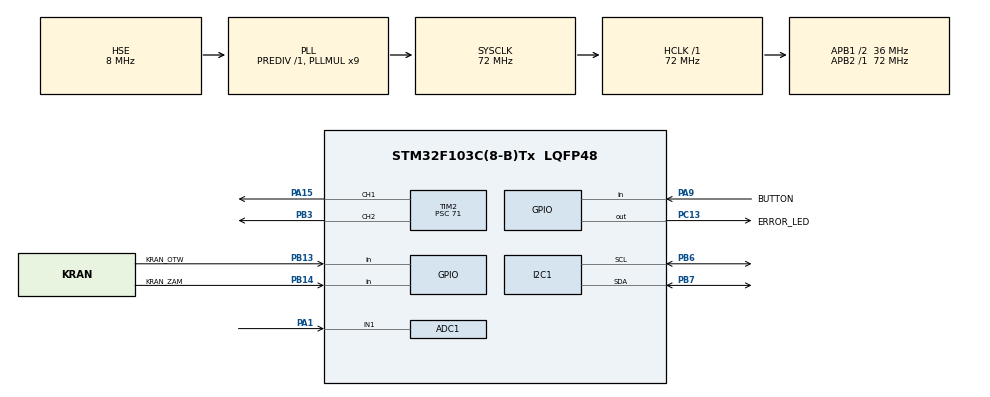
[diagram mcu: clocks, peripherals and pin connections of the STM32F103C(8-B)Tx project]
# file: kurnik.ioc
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ADC1.Channel-0\#ChannelRegularConversion=ADC_CHANNEL_1
ADC1.NbrOfConversionFlag=1
ADC1.Rank-0\#ChannelRegularConversion=1
ADC1.SamplingTime-0\#ChannelRegularConversion=ADC_SAMPLETIME_239CYCLES_5
ADC1.master=1
IWDG.Prescaler=IWDG_PRESCALER_64
Mcu.Family=STM32F1
Mcu.Name=STM32F103C(8-B)Tx
Mcu.Package=LQFP48
NVIC.PriorityGroup=NVIC_PRIORITYGROUP_4
PA1.Signal=ADCx_IN1
PA13.Mode=Serial_Wire
PA13.Signal=SYS_JTMS-SWDIO
PA14.Mode=Serial_Wire
PA14.Signal=SYS_JTCK-SWCLK
PA15.Signal=S_TIM2_CH1_ETR
PA9.GPIO_Label=BUTTON
PA9.Signal=GPIO_Input
PB13.GPIO_Label=KRAN_OTW
PB13.Signal=GPIO_Input
PB14.GPIO_Label=KRAN_ZAM
PB14.Signal=GPIO_Input
PB3.Signal=S_TIM2_CH2
PB6.Mode=I2C
PB6.Signal=I2C1_SCL
PB7.Mode=I2C
PB7.Signal=I2C1_SDA
PC13-TAMPER-RTC.GPIO_Label=ERROR_LED
PC13-TAMPER-RTC.PinState=GPIO_PIN_SET
PC13-TAMPER-RTC.Signal=GPIO_Output
PD0-OSC_IN.Mode=HSE-External-Oscillator
PD0-OSC_IN.Signal=RCC_OSC_IN
PD1-OSC_OUT.Mode=HSE-External-Oscillator
PD1-OSC_OUT.Signal=RCC_OSC_OUT
ProjectManager.HeapSize=0x200
ProjectManager.StackSize=0x400
ProjectManager.TargetToolchain=STM32CubeIDE
RCC.ADCPresc=RCC_ADCPCLK2_DIV6
RCC.AHBFreq_Value=72000000
RCC.APB1CLKDivider=RCC_HCLK_DIV2
RCC.APB1Freq_Value=36000000
RCC.APB1TimFreq_Value=72000000
RCC.APB2Freq_Value=72000000
RCC.APB2TimFreq_Value=72000000
RCC.HCLKFreq_Value=72000000
RCC.PLLMUL=RCC_PLL_MUL9
RCC.PLLSourceVirtual=RCC_PLLSOURCE_HSE
RCC.SYSCLKFreq_VALUE=72000000
RCC.SYSCLKSource=RCC_SYSCLKSOURCE_PLLCLK
RCC.USBFreq_Value=72000000
SH.ADCx_IN1.0=ADC1_IN1,IN1
SH.S_TIM2_CH1_ETR.0=TIM2_CH1,PWM Generation1 CH1
SH.S_TIM2_CH2.0=TIM2_CH2,PWM Generation2 CH2
TIM2.Channel-PWM\ Generation1\ CH1=TIM_CHANNEL_1
TIM2.Channel-PWM\ Generation2\ CH2=TIM_CHANNEL_2
TIM2.Period=999
TIM2.Prescaler=71
VP_IWDG_VS_IWDG.Mode=IWDG_Activate
board=custom

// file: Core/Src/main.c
/* USER CODE BEGIN Header */
/**
  ******************************************************************************
  * @file           : main.c
  * @brief          : Main program body
  ******************************************************************************
  * @attention
  *
  * Copyright (c) 2023 STMicroelectronics.
  * All rights reserved.
  *
  * This software is licensed under terms that can be found in the LICENSE file
  * in the root directory of this software component.
  * If no LICENSE file comes with this software, it is provided AS-IS.
  *
  ******************************************************************************
  */
/* USER CODE END Header */
#include "main.h"
#include "adc.h"
#include "i2c.h"
#include "iwdg.h"
#include "tim.h"
#include "gpio.h"

/* USER CODE BEGIN Includes */
#include "stdbool.h"
#include "func.h"
#include "INA219.h"
/* USER CODE END Includes */

/* USER CODE BEGIN PV */
INA219_t ina219;

/* USER CODE END PV */

void SystemClock_Config(void);

int main(void)
{

  /* MCU Configuration--------------------------------------------------------*/

  /* Reset of all peripherals, Initializes the Flash interface and the Systick. */
  HAL_Init();

  /* Configure the system clock */
  SystemClock_Config();

  /* Initialize all configured peripherals */
  MX_GPIO_Init();
  MX_I2C1_Init();
  MX_ADC1_Init();
  MX_TIM2_Init();
  MX_IWDG_Init();
  /* USER CODE BEGIN 2 */
  // Uruchomienie układu

  for (int i = 0; i < 10; i++) {
    HAL_GPIO_TogglePin(ERROR_LED_GPIO_Port, ERROR_LED_Pin);
    HAL_Delay(50);
  }

  while(!INA219_Init(&ina219, &hi2c1, INA219_ADDRESS))
  {

  }

  /* USER CODE END 2 */

  /* Infinite loop */
  /* USER CODE BEGIN WHILE */

  // ZMIENNE STANU
  time_of_day pora_dnia = undefined;
  stan_dzialania stan;
  mode tryb = automatic;
  stan_dzialania lst_stan;
  bool button_flag = 0;

  //DELAY
  unsigned long lst_time_pomiar = HAL_GetTick();
  unsigned long lst_time_manual = HAL_GetTick();
  unsigned long lst_time_motor = HAL_GetTick();
  unsigned long lst_time_pomiar_INA = HAL_GetTick();
  unsigned long lst_time_input = HAL_GetTick();

  //DEBOUNCING INPUTS
  int counter_otw = 0;
  int counter_zam = 0;
  int counter_button = 0;

  //ZABEZPIECZNIA
  int work_time = 0;
  int max_current_counter = 0;
  int incorrect_voltage_counter = 0;

  //USTALENIE STANU POCZĄTKOWEGO
  if(get_state(kran_zam)) stan = zamkniete;
  else if(get_state(kran_otw)) stan = otwarte;
  else stan = pomiedzy;
  lst_stan = stan;

  //ADC
  HAL_ADCEx_Calibration_Start(&hadc1);

  //PWM
  HAL_TIM_Base_Start_IT(&htim2);
  HAL_TIM_PWM_Start(&htim2, TIM_CHANNEL_1);
  HAL_TIM_PWM_Start(&htim2, TIM_CHANNEL_2);

  //INA 219
  uint16_t vbus, current;

  vbus = INA219_ReadBusVoltage(&ina219);
  current = INA219_ReadCurrent(&ina219);

  while (1)
  {
	  // SPRAWDZANIE WEJŚĆ
	  if(HAL_GetTick() - lst_time_input > 2)
	  {

		  HAL_IWDG_Refresh(&hiwdg);

		  lst_time_input = HAL_GetTick();

		  if(get_state(kran_zam) && (stan == zamykanie || stan == pomiedzy)) counter_zam ++;
		  else counter_zam = 0;

		  if(get_state(kran_otw) && (stan == otwieranie || stan == pomiedzy)) counter_otw ++;
		  else counter_otw = 0;

		  if(get_state(button) && !button_flag) counter_button++;
		  if(!get_state(button) && counter_button < 49) counter_button = 0;
	  }

	  //USTAWIENIE STANÓW WEJŚĆ
	  if(counter_zam > 30)
	  {
		  work_time = 0;
		  counter_zam = 0;
		  motor(zamkniete);
		  stan = zamkniete;
	  }
	  if(counter_otw > 30)
	  {
		  work_time = 0;
		  counter_otw = 0;
		  motor(otwarte);
		  stan = otwarte;
	  }

	  //!get_state  ponieważ wciśnięcie przycisku uznane dopiero po jego puszczeniu
	  if(counter_button > 50 && !get_state(button))
	  {
		  counter_button = 0;
		  button_flag = 1;
		  work_time = 0;

	  }

// TRYB AUTOMATYCZNY

	  if(tryb == automatic)
	  {
		  //POMIAR Z FOTO-REZYSTORA
		  if(stan != otwieranie && stan != zamykanie && ((HAL_GetTick() - lst_time_pomiar) > 100))
		  {
			  lst_time_pomiar = HAL_GetTick();
			  pomiar_foto(&pora_dnia);

		  }

		  // ROZPOCZYNANIE ZAMYKANIA LUB OTWIERANIA
		  if((stan == otwarte || stan == pomiedzy) && pora_dnia == noc)
		  {
			  motor(zamykanie);
			  stan = zamykanie;
		  }
		  if((stan == zamkniete || stan == pomiedzy) && pora_dnia == dzien)
		  {
			  motor(otwieranie);
			  stan = otwieranie;
		  }
	  }

// TRYB MANUALNY

	  if(tryb == manual && (HAL_GetTick() - lst_time_manual >  150000))   // 2.5 min : czas działania trybu manualnego
	  {
		  tryb = automatic;
		  HAL_GPIO_WritePin(ERROR_LED_GPIO_Port, ERROR_LED_Pin, GPIO_PIN_SET);
	  }

	  if(button_flag)  //debouncing
	  {
		  lst_time_manual = HAL_GetTick();
		  tryb = manual;
		  HAL_GPIO_WritePin(ERROR_LED_GPIO_Port, ERROR_LED_Pin, GPIO_PIN_RESET);

		  if(stan == otwieranie)
		  {
			  motor(pomiedzy);
			  stan = pomiedzy;
			  lst_stan = otwieranie;
		  }

		  else if(stan == zamykanie)
		  {
			  motor(pomiedzy);
			  stan = pomiedzy;
			  lst_stan = zamykanie;
		  }

		  else if(stan == zamkniete)
		  {
			  stan = otwieranie;
		  }

		  else if(stan == otwarte)
		  {
			  stan = zamykanie;
		  }

		  else if(stan == pomiedzy && (lst_stan == otwieranie || lst_stan == pomiedzy))
		  {
			  stan = zamykanie;
		  }

		  else if(stan == pomiedzy && lst_stan == zamykanie)
		  {
			  stan = otwieranie;
		  }

		  button_flag = 0;
	  }

// OBS�?UGA SILNIKA
	  if((HAL_GetTick() - lst_time_motor > 15) && (stan == otwieranie || stan == zamykanie))
	  {
		  lst_time_motor = HAL_GetTick();
		  motor(stan);
		  work_time ++;
	  }

// ZABEZPIECZENIA
	  if(stan != otwieranie && stan != zamykanie) work_time = 0;

	  //pomiar prądu i napięcia
	  if(HAL_GetTick() - lst_time_pomiar_INA > 5)
	  {
		  lst_time_pomiar_INA = HAL_GetTick();
		  vbus = INA219_ReadBusVoltage(&ina219);
		  current = INA219_ReadCurrent(&ina219);

		  if(work_time > 40 && current > 2700)  //jeżeli po 200 ms prąd > 2500 mA
		  {
			  max_current_counter ++;
		  }
		  else max_current_counter = 0;

		  if(vbus > 13500 || vbus < 8000)
		  {
			  incorrect_voltage_counter ++;
		  }
		  else incorrect_voltage_counter = 0;

	  }

	  if(work_time > 11000)   // czas pracy w sekundach    (work_time * 15)/1000
	  {
		  error_led(to_long_run_time);
		  motor(pomiedzy);
		  work_time = 0;
		  stan = pomiedzy;
	  }

	  if(max_current_counter > 10)
	  {
		  if(stan == zamykanie)
		  {
			  work_time = 0;
			  counter_zam = 0;
			  max_current_counter = 0;
			  motor(zamkniete);
			  stan = zamkniete;
		  }
		  else{
			  error_led(to_high_current);
			  motor(pomiedzy);
			  work_time = 0;
			  stan = pomiedzy;
			  max_current_counter = 0;
		  }
	  }

	  if(incorrect_voltage_counter > 100)        // nieodpowiedznie napięcie [mV]
	  {
		  error_led(incorrect_voltage);
		  motor(pomiedzy);
		  work_time = 0;
		  stan = pomiedzy;
		  incorrect_voltage_counter = 0;
	  }

	  //if(work_time > 20 && current < 100)    //zbyt niski prąd silnia (silnik nie działa lub się odłączył)
	  //{
		  //error_led(to_low_work_current);
		  //motor(pomiedzy);
		  //work_time = 0;
		  //stan = pomiedzy;
	  //}

  }
    /* USER CODE END WHILE */

}

void SystemClock_Config(void)
{
  RCC_OscInitTypeDef RCC_OscInitStruct = {0};
  RCC_ClkInitTypeDef RCC_ClkInitStruct = {0};
  RCC_PeriphCLKInitTypeDef PeriphClkInit = {0};

  /** Initializes the RCC Oscillators according to the specified parameters
  * in the RCC_OscInitTypeDef structure.
  */
  RCC_OscInitStruct.OscillatorType = RCC_OSCILLATORTYPE_LSI|RCC_OSCILLATORTYPE_HSE;
  RCC_OscInitStruct.HSEState = RCC_HSE_ON;
  RCC_OscInitStruct.HSEPredivValue = RCC_HSE_PREDIV_DIV1;
  RCC_OscInitStruct.HSIState = RCC_HSI_ON;
  RCC_OscInitStruct.LSIState = RCC_LSI_ON;
  RCC_OscInitStruct.PLL.PLLState = RCC_PLL_ON;
  RCC_OscInitStruct.PLL.PLLSource = RCC_PLLSOURCE_HSE;
  RCC_OscInitStruct.PLL.PLLMUL = RCC_PLL_MUL9;
  if (HAL_RCC_OscConfig(&RCC_OscInitStruct) != HAL_OK)
  {
    Error_Handler();
  }

  /** Initializes the CPU, AHB and APB buses clocks
  */
  RCC_ClkInitStruct.ClockType = RCC_CLOCKTYPE_HCLK|RCC_CLOCKTYPE_SYSCLK
                              |RCC_CLOCKTYPE_PCLK1|RCC_CLOCKTYPE_PCLK2;
  RCC_ClkInitStruct.SYSCLKSource = RCC_SYSCLKSOURCE_PLLCLK;
  RCC_ClkInitStruct.AHBCLKDivider = RCC_SYSCLK_DIV1;
  RCC_ClkInitStruct.APB1CLKDivider = RCC_HCLK_DIV2;
  RCC_ClkInitStruct.APB2CLKDivider = RCC_HCLK_DIV1;

  if (HAL_RCC_ClockConfig(&RCC_ClkInitStruct, FLASH_LATENCY_2) != HAL_OK)
  {
    Error_Handler();
  }
  PeriphClkInit.PeriphClockSelection = RCC_PERIPHCLK_ADC;
  PeriphClkInit.AdcClockSelection = RCC_ADCPCLK2_DIV6;
  if (HAL_RCCEx_PeriphCLKConfig(&PeriphClkInit) != HAL_OK)
  {
    Error_Handler();
  }
}

void Error_Handler(void)
{
  __disable_irq();
  while (1)
  {
  }
}
